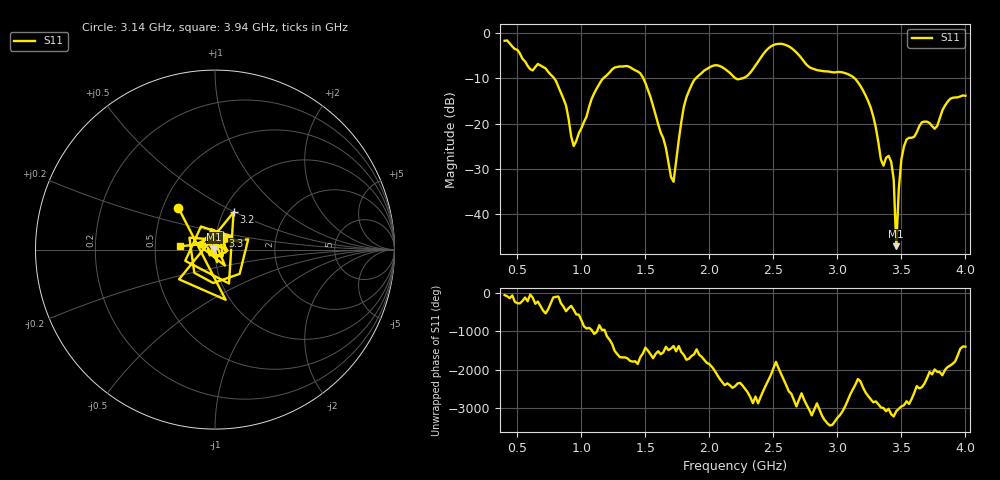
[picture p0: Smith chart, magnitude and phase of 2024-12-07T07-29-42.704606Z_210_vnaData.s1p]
!Created with skrf (http://scikit-rf.org).
# Hz S RI R 50.0
!freq ReS11 ImS11
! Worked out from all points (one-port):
!   181 points, 400 MHz to 4 GHz, reference 50 ohm
!   lowest |S11| = -47.0 dB at 3.46 GHz (marker M1), VSWR 1.01, Z = 49.6 + j0.0964 ohm
!   |S11| at or under -10 dB: 786.2 MHz to 1.173 GHz (386.3 MHz wide, 39.4 % of centre); 1.483 GHz to 1.895 GHz (412.1 MHz wide, 24.4 % of centre); 3.133 GHz to end of sweep (the widest 3 of 4)
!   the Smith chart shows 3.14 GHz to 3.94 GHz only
!   S11 on the Smith chart (normalised r, x): 3.14 GHz: 0.60, +0.31; 3.2 GHz: 1.12, +0.49; 3.3 GHz: 1.08, +0.17; 3.94 GHz: 0.67, +0.03
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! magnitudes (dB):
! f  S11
! 400 MHz  -1.7
! 720 MHz  -7.8
! 860 MHz  -14.5
! 940 MHz  -25.0
! 1.14 GHz  -11.3
! 1.3 GHz  -7.4
! 1.48 GHz  -9.8
! 1.72 GHz  -32.8
! 1.76 GHz  -23.8
! 1.8 GHz  -16.4
! 1.88 GHz  -10.4
! 2.04 GHz  -7.2
! 2.2 GHz  -10.0
! 2.5 GHz  -2.7
! 2.66 GHz  -3.8
! 3.1 GHz  -9.4
! 3.14 GHz  -10.2
! 3.2 GHz  -12.7
! 3.3 GHz  -20.8
! 3.36 GHz  -29.3
! 3.42 GHz  -28.4
! 3.44 GHz  -32.4
! 3.46 GHz  -47.0
! 3.48 GHz  -34.3
! 3.5 GHz  -27.9
! 3.56 GHz  -23.1
! 3.94 GHz  -14.2
! 4 GHz  -13.9
